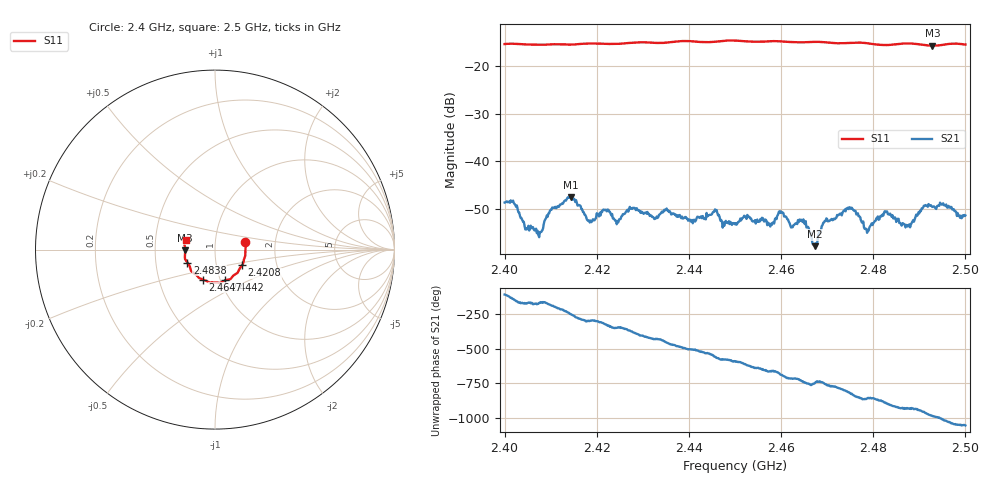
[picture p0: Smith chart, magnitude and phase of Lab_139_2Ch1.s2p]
# Hz S RI R 50
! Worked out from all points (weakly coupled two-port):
!   601 points, 2.4 GHz to 2.5 GHz, reference 50 ohm
!   highest |S21| = -47.59 dB at 2.4143 GHz (marker M1); lowest = -57.9 dB at 2.4673 GHz (marker M2)
!   lowest |S11| = -15.6 dB at 2.4928 GHz (marker M3), VSWR 1.40, Z = 35.8 - j0.335 ohm
!   |S11| at or under -10 dB: start of sweep to end of sweep
!   S12 and S22 are empty: the file has one direction only
!   S11 on the Smith chart (normalised r, x): 2.4 GHz: 1.40, +0.12; 2.4208 GHz: 1.33, -0.24; 2.4442 GHz: 1.05, -0.37; 2.4647 GHz: 0.83, -0.29; 2.4838 GHz: 0.73, -0.11; 2.5 GHz: 0.72, +0.08
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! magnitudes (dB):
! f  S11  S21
! 2.4 GHz  -15.3  -48.7
! 2.4075 GHz  -15.4  -56.0
! 2.41 GHz  -15.3  -50.3
! 2.4143 GHz  -15.4  -47.6
! 2.4167 GHz  -15.2  -50.1
! 2.4185 GHz  -15.2  -52.9
! 2.4208 GHz  -15.2  -51.4
! 2.4333 GHz  -15.0  -51.8
! 2.4442 GHz  -14.9  -51.4
! 2.45 GHz  -14.5  -53.3
! 2.46 GHz  -14.7  -50.6
! 2.4647 GHz  -14.9  -52.8
! 2.4667 GHz  -14.8  -56.6
! 2.4673 GHz  -14.8  -57.9
! 2.4695 GHz  -14.9  -52.6
! 2.4747 GHz  -15.0  -50.1
! 2.4785 GHz  -15.1  -54.3
! 2.4833 GHz  -15.5  -51.2
! 2.4838 GHz  -15.4  -51.3
! 2.4875 GHz  -15.1  -53.8
! 2.4928 GHz  -15.6  -49.7
! 2.5 GHz  -15.4  -51.4
